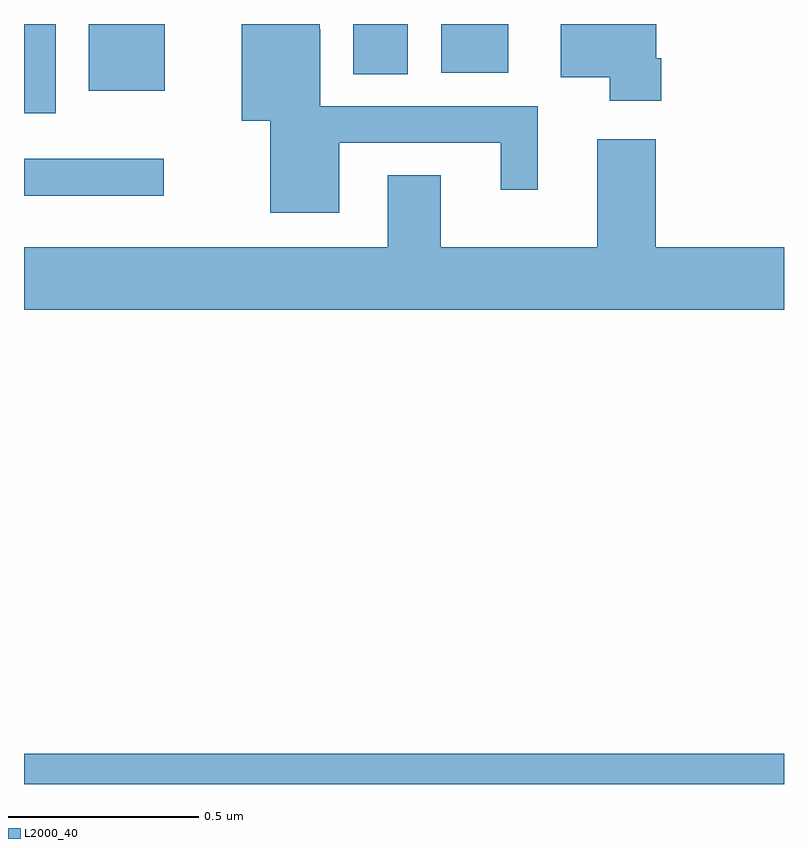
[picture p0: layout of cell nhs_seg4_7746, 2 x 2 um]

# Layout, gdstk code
import gdstk
lib = gdstk.Library(unit=1e-6, precision=1e-09)
def R(c, l, rs):  # rectangles x0, y0, x1, y1
    for r in rs: c.add(gdstk.rectangle(r[:2], r[2:], *l))
def P(c, l, *ps):  # polygons
    for p in ps: c.add(gdstk.Polygon(p, *l))
L2000_40 = (2000, 40)

nhs_seg4_7746 = lib.new_cell('nhs_seg4_7746')
R(nhs_seg4_7746, L2000_40, [(206,800.9,208,800.98), (206,802.448,206.368,802.545), (206,802.665,206.083,802.9), (206.171,802.724,206.371,802.9), (206.867,802.768,207.01,802.9), (207.098,802.772,207.274,802.9)])
P(nhs_seg4_7746, L2000_40, [(206.83,802.587),(207.254,802.587),(207.254,802.464),(207.352,802.464),(207.352,802.683),(206.779,802.683),(206.779,802.886),(206.778,802.886),(206.778,802.9),(206.573,802.9),(206.573,802.646),(206.648,802.646),(206.648,802.403),(206.83,802.403)],
  [(207.677,802.81),(207.664,802.81),(207.664,802.9),(207.413,802.9),(207.413,802.76),(207.542,802.76),(207.542,802.698),(207.677,802.698)],
  [(208,802.312),(207.662,802.312),(207.662,802.597),(207.509,802.597),(207.509,802.312),(207.097,802.312),(207.097,802.502),(206.957,802.502),(206.957,802.312),(206,802.312),(206,802.148),(208,802.148)])

lib.write_gds('nhs_seg4_7746.gds')
